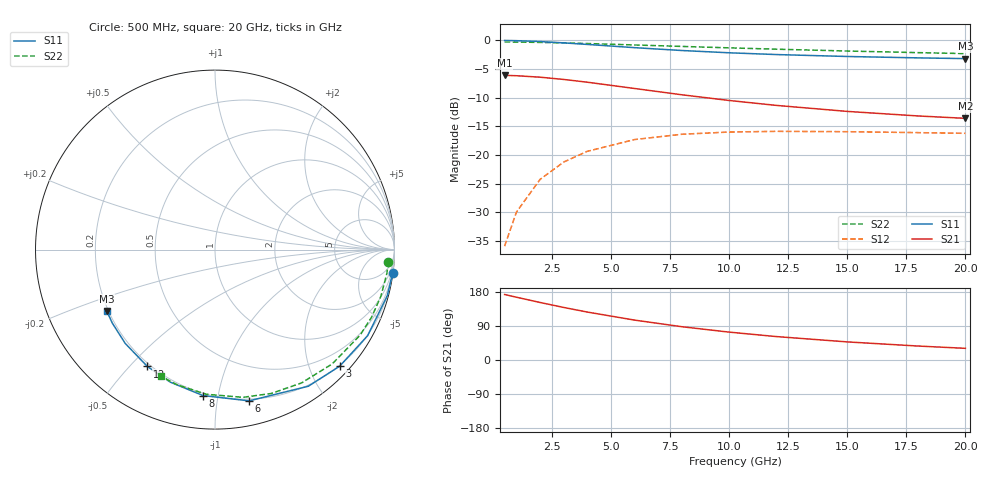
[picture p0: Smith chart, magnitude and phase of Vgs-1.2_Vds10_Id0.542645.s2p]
# Hz S RI R 50
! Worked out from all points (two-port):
!   12 points, 500 MHz to 20 GHz, reference 50 ohm
!   highest |S21| = -6.10 dB at 500 MHz (marker M1); lowest = -13.6 dB at 20 GHz (marker M2)
!   |S21| within 3 dB of the highest: start of sweep to 7.29 GHz
!   lowest |S11| = -3.2 dB at 20 GHz (marker M3), VSWR 5.52, Z = 9.66 - j12.7 ohm
!   |S11| at or under -10 dB: nowhere
!   |S22| runs from -2.3 to -0.3 dB; largest |S21 - S12| = 0.5
!   S11 on the Smith chart (normalised r, x): 500 MHz: 0, -15; 3 GHz: 0.19, -2.52; 6 GHz: 0.19, -1.23; 8 GHz: 0.19, -0.90; 12 GHz: 0.19, -0.56; 20 GHz: 0.19, -0.25
5e8  0.9898 -0.1306  -0.4916 0.0619  0.00152 0.016  0.9661 -0.0667
1e9  0.96 -0.2566  -0.4764 0.1215  0.00598 0.0312  0.9576 -0.1325
2e9  0.85 -0.4801  -0.4207 0.2255  0.0223 0.0571  0.9246 -0.2589
3e9  0.6945 -0.6497  -0.3428 0.3013  0.0448 0.0744  0.8736 -0.3744
4e9  0.52 -0.7612  -0.2568 0.3469  0.0692 0.0827  0.8085 -0.4767
6e9  0.19 -0.8428  -0.1003 0.3671  0.1117 0.0785  0.6527 -0.6372
8e9  -0.0668 -0.8131  0.0127 0.3351  0.1393 0.0603  0.4819 -0.7431
1e10  -0.2495 -0.7383  0.0846 0.287  0.1538 0.0393  0.3132 -0.8016
1.2e10  -0.3768 -0.6511  0.128 0.2388  0.1596 0.0202  0.1559 -0.8231
1.5e10  -0.4996 -0.5234  0.1615 0.1778  0.1598 -0.00235  -0.0488 -0.806
1.8e10  -0.5723 -0.4095  0.1755 0.1314  0.1557 -0.0184  -0.213 -0.7522
2e10  -0.6033 -0.3417  0.1795 0.107  0.1524 -0.0265  -0.3018 -0.705
